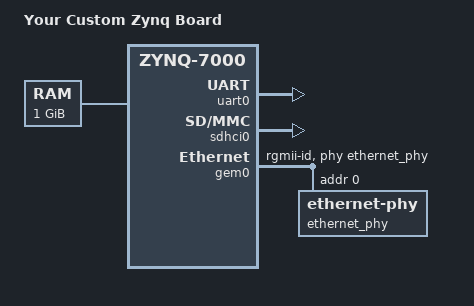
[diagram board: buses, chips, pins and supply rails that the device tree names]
/dts-v1/;

#include "zynq-7000.dtsi"
    
/ {
    model = "Your Custom Zynq Board";
    compatible = "your,board", "xlnx,zynq-7000";
    
    memory@0 {
        device_type = "memory";
        reg = <0x0 0x40000000>;  // 1GB RAM, 根据实际调整
    };

    chosen {
        bootargs = "console=ttyPS0,115200 root=/dev/mmcblk0p2 rootwait";
        stdout-path = "serial0:115200n8";
    };
};
    
&uart0 {
    status = "okay";
};
    
&sdhci0 {
    status = "okay";
};
    
&gem0 {
    status = "okay";
    phy-mode = "rgmii-id";
    phy-handle = <&ethernet_phy>;
    
    ethernet_phy: ethernet-phy@0 {
        reg = <0>;
    };
};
